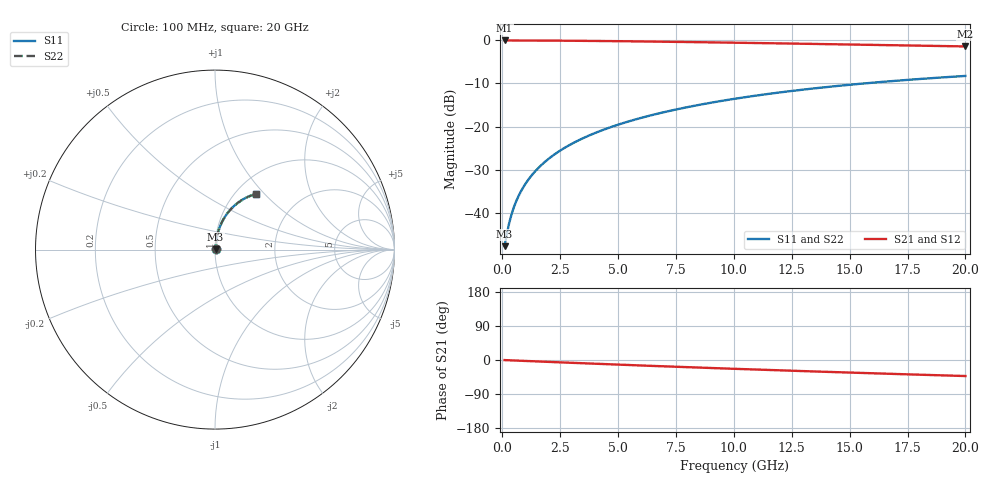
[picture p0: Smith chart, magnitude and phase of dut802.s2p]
! Touchstone file exported from HFSS 2024.1.0
!  File:  C:/UserFiles/LocalFiles/RDL_TSV_Batchsim/temp_RDL_bottom_802_1779861980.aedt
!  Generated:  02:08:42 PM May 27, 2026
!  Design:  RDL_bottom
!  Project:  temp_RDL_bottom_802_1779861980
!  Setup:  Setup1
!  Solution:  Sweep
! Variables:
!  dtsv = 10.80580581um
!  hbump = 3um
!  htsv = 81.83um
!  ldown = 626.86um
!  lrdl = 100um
!  p = 40
!  p1 = 40.78um
!  rhole = 1um
!  t = 450um
!  tdown = 4.05um
!  trdl = 3.915915916um
!  wdown = 16.73um
!  wrdl = 20um
# GHz S MA R 50.000000
! Terminal data exported
! Port[1] = RDL1_T1
! Port[2] = RDL1_T2
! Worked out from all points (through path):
!   200 points, 100 MHz to 20 GHz, reference 50 ohm
!   highest |S21| = -0.03 dB at 100 MHz (marker M1); lowest = -1.4 dB at 20 GHz (marker M2)
!   group delay of S21, straight-line fit = 5.85 ps
!   lowest |S11| = -47.8 dB at 100 MHz (marker M3), VSWR 1.01, Z = 50.3 + j0.23 ohm
!   |S11| at or under -10 dB: start of sweep to 15.63 GHz
!   |S22| runs from -47.8 to -8.3 dB; largest |S21 - S12| = 4.4e-15
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0.1  0.004097 33.8  0.9966 -0.3  0.9966 -0.3  0.004097 33.8
! Gamma 0 0 0 0
! Port Impedance 50 0 50 0
0.2  0.005731 52.0  0.9964 -0.5  0.9964 -0.5  0.005731 52.0
0.3  0.007635 61.0  0.9963 -0.8  0.9963 -0.8  0.007636 61.0
0.4  0.009607 66.3  0.9961 -1.0  0.9961 -1.0  0.009607 66.3
0.5  0.0116 69.7  0.9959 -1.3  0.9959 -1.3  0.0116 69.7
0.6  0.01359 72.1  0.9958 -1.5  0.9958 -1.5  0.01359 72.1
0.8  0.01761 75.3  0.9954 -2.0  0.9954 -2.0  0.01761 75.3
1.1  0.0237 78.1  0.9949 -2.8  0.9949 -2.8  0.0237 78.1
1.3  0.02779 79.2  0.9945 -3.3  0.9945 -3.3  0.02779 79.2
1.6  0.03396 80.3  0.9938 -4.0  0.9938 -4.0  0.03396 80.3
2.1  0.04432 81.2  0.9923 -5.2  0.9923 -5.2  0.04432 81.1
2.7  0.05682 81.4  0.9901 -6.7  0.9901 -6.7  0.05681 81.4
3.5  0.07355 81.1  0.9865 -8.6  0.9865 -8.6  0.07355 81.1
4.2  0.08825 80.5  0.9827 -10.3  0.9827 -10.3  0.08824 80.4
5  0.1051 79.5  0.9779 -12.2  0.9779 -12.2  0.1051 79.5
5.9  0.124 78.3  0.9718 -14.3  0.9718 -14.3  0.124 78.3
6.8  0.1429 77.0  0.9652 -16.3  0.9652 -16.3  0.1429 77.0
8.4  0.1764 74.4  0.9527 -19.8  0.9527 -19.8  0.1763 74.4
10.1  0.2113 71.4  0.9384 -23.4  0.9384 -23.4  0.2112 71.4
13.4  0.2758 65.4  0.9093 -30.1  0.9093 -30.1  0.2757 65.4
16.7  0.3346 59.3  0.8794 -36.4  0.8794 -36.4  0.3344 59.3
20  0.3864 53.5  0.8497 -42.3  0.8497 -42.3  0.3862 53.5
